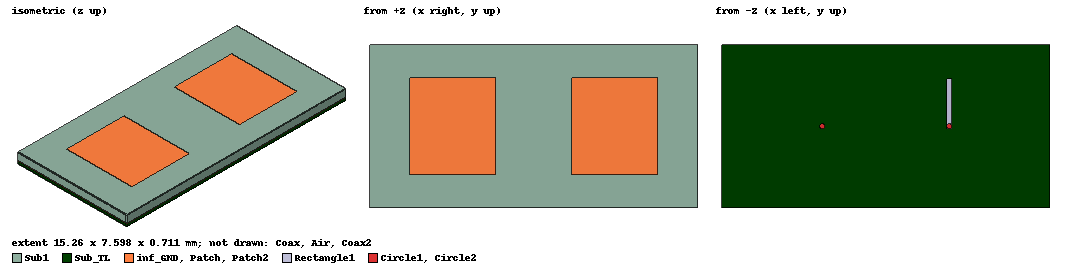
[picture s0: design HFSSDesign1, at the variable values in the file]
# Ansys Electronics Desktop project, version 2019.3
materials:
  vacuum: permittivity=1
  Rogers RT/duroid 5880 (tm): permittivity=2.2 dielectric_loss_tangent=0.0009
  pec: conductivity=1e+30
  Rogers RO4003 (tm): permittivity=3.55 dielectric_loss_tangent=0.0027

design HFSSDesign1 (HFSS, DrivenModal, model units mm)
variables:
  Lp = 4mm  # optimise 1.961496581mm..5.884489743mm
  Wp = 4.55mm  # optimise 2.538622579mm..7.615867737mm
  hs = 0.508mm
  Ws = Wp+6*hs
  Ls = 6*hs+Lp*2+4.21mm
  xsub = -Ls/2
  ysub = -Ws/2
  xfeed = 1.2mm  # optimise 0.4620027115mm..1.3860081345mm
  dp = 3.5mm  # optimise 0.19101913mm..0.57305739mm
  rcoax = 0.12mm
  hcoax = 0.203mm
  rprope = 0.07mm
  Lair = 0.01+Ls
  Wair = 0.01+Ws
  xair = Lair/2
  yair = Wair/2
  hair = 5mm
  yfeed = 0mm
  xp = dp/2
  yp = -Wp/2
  hgnd = -0.032mm
  WTL_h4 = 0.212638mm
  LTL_h4 = 2.308004mm
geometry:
  Sub1 [Rogers RO4003 (tm)] = box(corner=(xsub, ysub, 0mm), size=(Ls, Ws, hs))
  Patch [Rogers RT/duroid 5880 (tm)] = rectangle(corner=(xp, yp, hs), x_size=Lp, y_size=Wp)
  Coax [vacuum] = cylinder(axis=Z, base_centre=(xp+xfeed, yfeed, 0mm), radius=rcoax, height=-hcoax)
  Coax_Pin [pec] = cylinder(axis=Z, base_centre=(xp+xfeed, yfeed, 0mm), radius=rprope, height=-hcoax)
  Prope [pec] = cylinder(axis=Z, base_centre=(xp+xfeed, yfeed, 0mm), radius=rprope, height=hs)
  Air [vacuum] = box(corner=(-xair, -yair, -hcoax), size=(Lair, Wair, hair +0.3mm))
  Patch2 = rectangle(corner=(xp-Lp-dp, yp, hs), x_size=Lp, y_size=Wp)
  Coax2 [vacuum] = cylinder(axis=Z, base_centre=(-(xp+xfeed), yfeed, 0mm), radius=rcoax, height=-hcoax)
  Coax_Pin2 [pec] = cylinder(axis=Z, base_centre=(-(xp+xfeed), yfeed, 0mm), radius=rprope, height=-hcoax)
  Prope2 [pec] = cylinder(axis=Z, base_centre=(-(xp+xfeed), yfeed, 0mm), radius=rprope, height=hs)
  inf_GND [pec] = box(corner=(xsub, ysub, 0mm), size=(Ls, Ws, hgnd))
  Cylinder_cut_2 = cylinder(axis=Z, base_centre=(-(xp+xfeed), yfeed, 0), radius=rcoax, height=hgnd)
  Cylinder_cut_1 = cylinder(axis=Z, base_centre=(xp+xfeed, yfeed, 0), radius=rcoax, height=hgnd)
  inf_GND.subtract(Cylinder_cut_1)
  inf_GND.subtract(Cylinder_cut_2)
  Sub_TL [Rogers RO4003 (tm)] = box(corner=(xsub, ysub, 0mm), size=(Ls, Ws, -hcoax))
  Circle1 = circle(normal=Z, centre=(-(xp+xfeed), yfeed, -hcoax), radius=rcoax)
  Circle2 = circle(normal=Z, centre=(xfeed+xp, yfeed, -hcoax), radius=rcoax)
  Rectangle1 = rectangle(corner=(-(xp+xfeed)+WTL_h4/2, yfeed-rcoax, -hcoax), x_size=-WTL_h4, y_size=LTL_h4)
  group Input_feed1 = Coax, Coax_Pin, Prope
  group Input_feed2 = Coax2, Coax_Pin2, Prope2
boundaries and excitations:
  PerfE_Patch: Perfect E Objects=Patch
  Rad1: Radiation Faces=Air.face(+x, +y, -y, -x, +z)
  PerfE1: Perfect E Objects=Patch2
  3: Lumped Port Objects=Circle2 Modes{Mode1{IntLine{Circle2.edge(1 of 1) at -0.25 along -> Circle2.edge(1 of 1) at 0.25 along} CharImp=Zpi RenormImp=50ohm}} Impedance=50ohm
  4: Lumped Port Objects=Circle1 Modes{Mode1{IntLine{Circle1.edge(1 of 1) at -0.25 along -> Circle1.edge(1 of 1) at 0.25 along} CharImp=Zpi RenormImp=50ohm}} Impedance=50ohm
  reference conductors: inf_GND
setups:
  Setup1: HfssDriven Frequency=20GHz MaxDeltaS=0.02 MaximumPasses=18 MinimumPasses=1 MinimumConvergedPasses=1 PercentRefinement=30 BasisOrder=1 PortAccuracy=2
    sweep Sweep: 18GHz to 22GHz step 0.1GHz; Type=Fast SaveFields SaveRadFields GenerateFieldsForAllFreqs
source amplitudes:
  3:1: 1W 0deg
  4:1: 0W 0deg
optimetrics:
  OptimizationSetup1: Optimization Optimizer="Quasi Newton" AnalysisStopOptions{StopForNumIteration MaxNumIteration=1000 MinNumIteration=10} CostFuncNormType=L2 Acceptable_Cost=0 Noise=0.0001 UpdateDesignWhenDone
    vary Lp: Min=1.961496581mm Max=5.884489743mm MinStep=0.039229932mm MaxStep=0.39229932mm MinFocus=1.961496581mm MaxFocus=5.884489743mm start=3.64mm
    vary xfeed: Min=0.46200271mm Max=1.3860081mm MinStep=0.0092400542mm MaxStep=0.092400542mm MinFocus=0.46200271mm MaxFocus=1.3860081mm start=1.2mm
    goal dB(S(3,3)) <= -12 weight 1 on Setup1 : Sweep at Freq 20GHz
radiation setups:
  e_plane: Infinite Sphere Theta=-180deg..180deg step 2deg Phi=0deg..0deg step 1deg
  h_plane: Infinite Sphere Theta=-180deg..180deg step 2deg Phi=90deg..90deg step 1deg
  3d: Infinite Sphere Theta=-180deg..180deg step 2deg Phi=0deg..360deg step 2deg
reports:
  Eradation_pattern: abs(rETotal) vs Theta on Setup1 : LastAdaptive, e_plane [Phi=all Freq=20GHz]
  Hradation_pattern: abs(rETotal) vs Theta on Setup1 : LastAdaptive, h_plane [Phi=all Freq=20GHz]
  Co_X_graph: dB10normalize(GainPhi), dB10normalize(GainTheta) vs Theta on Setup1 : LastAdaptive, e_plane [Phi=0deg Freq=20GHz]
  Port Zo Plot 1: mag(Zo(1)) vs Freq on Setup1 : Sweep; markers MX1 at x=2.0003783e+10
  S Parameter Plot 1: dB(S(1,1)) vs Freq on Setup1 : Sweep; markers MY1 at y=-10.0111
  Z Parameter Plot 1: mag(Z(1,1)) vs Freq on Setup1 : Sweep; markers MX1 at x=2.0003367e+10
  rE Plot 1: rETotal vs Phi, Theta on Setup1 : LastAdaptive, 3d [Freq=20GHz]
  Gain Plot 1: mag(GainTotal) vs Phi, Theta on Setup1 : LastAdaptive, 3d [Freq=20GHz]
  Gain Plot 3: mag(GainTotal) vs Theta on Setup1 : LastAdaptive, e_plane [Phi=all Freq=20GHz]
  Z Parameter Plot 2: mag(Z(4,4)) vs Freq on Setup1 : Sweep; markers MX1 at x=2.0002245e+10
